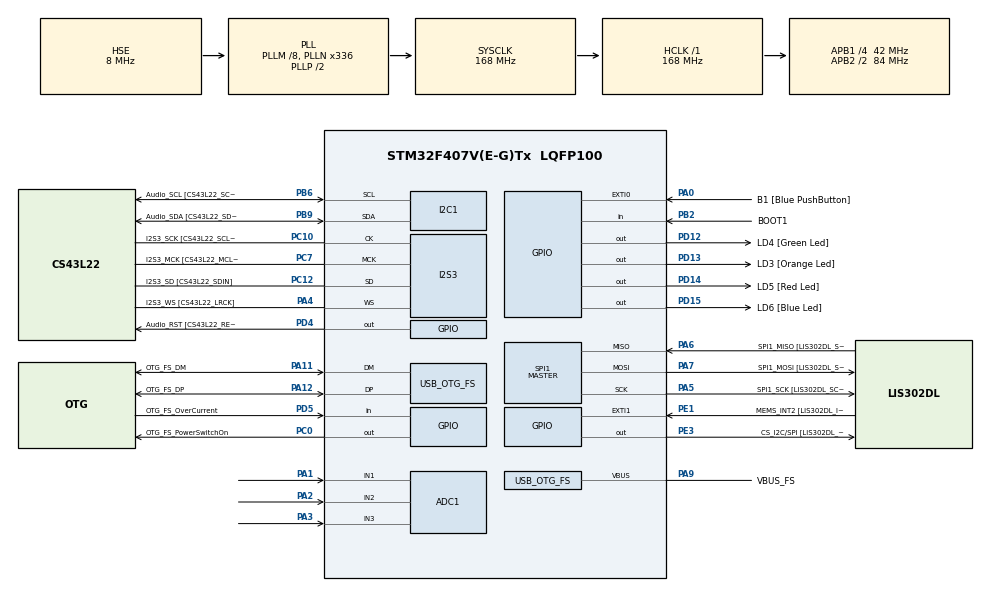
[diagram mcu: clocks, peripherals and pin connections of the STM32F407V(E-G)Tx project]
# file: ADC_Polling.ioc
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ADC1.Channel-10\#ChannelRegularConversion=ADC_CHANNEL_3
ADC1.Channel-8\#ChannelRegularConversion=ADC_CHANNEL_1
ADC1.Channel-9\#ChannelRegularConversion=ADC_CHANNEL_2
ADC1.ContinuousConvMode=ENABLE
ADC1.NbrOfConversion=3
ADC1.NbrOfConversionFlag=1
ADC1.Rank-10\#ChannelRegularConversion=3
ADC1.Rank-8\#ChannelRegularConversion=1
ADC1.Rank-9\#ChannelRegularConversion=2
ADC1.SamplingTime-10\#ChannelRegularConversion=ADC_SAMPLETIME_480CYCLES
ADC1.SamplingTime-8\#ChannelRegularConversion=ADC_SAMPLETIME_480CYCLES
ADC1.SamplingTime-9\#ChannelRegularConversion=ADC_SAMPLETIME_480CYCLES
ADC1.ScanConvMode=ENABLE
ADC1.master=1
I2S3.AudioFreq-Half_Duplex_Master=I2S_AUDIOFREQ_96K
I2S3.ErrorAudioFreq=-2.34 %
I2S3.ErrorAudioFreq-Half_Duplex_Master=0.8 %
I2S3.FullDuplexMode=I2S_FULLDUPLEXMODE_DISABLE
I2S3.Instance=SPI$Index
I2S3.RealAudioFreq=93.75 KHz
I2S3.RealAudioFreq-Half_Duplex_Master=96.774 KHz
I2S3.VirtualMode=I2S_MODE_MASTER
Mcu.Family=STM32F4
Mcu.Name=STM32F407V(E-G)Tx
Mcu.Package=LQFP100
NVIC.OTG_FS_IRQn=true\:0\:0\:false\:false\:true\:true\:true
NVIC.PriorityGroup=NVIC_PRIORITYGROUP_0
PA0-WKUP.GPIO_Label=B1 [Blue PushButton]
PA0-WKUP.GPIO_ModeDefaultEXTI=GPIO_MODE_EVT_RISING
PA0-WKUP.GPIO_PuPd=GPIO_NOPULL
PA0-WKUP.Signal=GPXTI0
PA1.Signal=ADCx_IN1
PA10.GPIO_Label=OTG_FS_ID
PA10.GPIO_Mode=GPIO_MODE_AF_PP
PA10.GPIO_PuPd=GPIO_NOPULL
PA10.GPIO_Speed=GPIO_SPEED_FREQ_LOW
PA10.Signal=USB_OTG_FS_ID
PA11.GPIO_Label=OTG_FS_DM
PA11.GPIO_Mode=GPIO_MODE_AF_PP
PA11.GPIO_PuPd=GPIO_NOPULL
PA11.GPIO_Speed=GPIO_SPEED_FREQ_LOW
PA11.Mode=Host_Only
PA11.Signal=USB_OTG_FS_DM
PA12.GPIO_Label=OTG_FS_DP
PA12.GPIO_Mode=GPIO_MODE_AF_PP
PA12.GPIO_PuPd=GPIO_NOPULL
PA12.GPIO_Speed=GPIO_SPEED_FREQ_LOW
PA12.Mode=Host_Only
PA12.Signal=USB_OTG_FS_DP
PA13.GPIO_Label=SWDIO
PA13.Mode=Serial_Wire
PA13.Signal=SYS_JTMS-SWDIO
PA14.GPIO_Label=SWCLK
PA14.Mode=Serial_Wire
PA14.Signal=SYS_JTCK-SWCLK
PA2.Signal=ADCx_IN2
PA3.Signal=ADCx_IN3
PA4.GPIO_Label=I2S3_WS [CS43L22_LRCK]
PA4.GPIO_Mode=GPIO_MODE_AF_PP
PA4.GPIO_PuPd=GPIO_NOPULL
PA4.GPIO_Speed=GPIO_SPEED_FREQ_LOW
PA4.Mode=Half_Duplex_Master
PA4.Signal=I2S3_WS
PA5.GPIO_Label=SPI1_SCK [LIS302DL_SCL/SPC]
PA5.GPIO_Mode=GPIO_MODE_AF_PP
PA5.GPIO_PuPd=GPIO_NOPULL
PA5.GPIO_Speed=GPIO_SPEED_FREQ_LOW
PA5.Mode=Full_Duplex_Master
PA5.Signal=SPI1_SCK
PA6.GPIO_Label=SPI1_MISO [LIS302DL_SDO]
PA6.GPIO_Mode=GPIO_MODE_AF_PP
PA6.GPIO_PuPd=GPIO_NOPULL
PA6.GPIO_Speed=GPIO_SPEED_FREQ_LOW
PA6.Mode=Full_Duplex_Master
PA6.Signal=SPI1_MISO
PA7.GPIO_Label=SPI1_MOSI [LIS302DL_SDA/SDI/SDO]
PA7.GPIO_Mode=GPIO_MODE_AF_PP
PA7.GPIO_PuPd=GPIO_NOPULL
PA7.GPIO_Speed=GPIO_SPEED_FREQ_LOW
PA7.Mode=Full_Duplex_Master
PA7.Signal=SPI1_MOSI
PA9.GPIO_Label=VBUS_FS
PA9.GPIO_Mode=GPIO_MODE_INPUT
PA9.GPIO_PuPd=GPIO_NOPULL
PA9.Mode=Activate_VBUS
PA9.Signal=USB_OTG_FS_VBUS
PB10.GPIO_Label=CLK_IN [MP45DT02_CLK]
PB10.GPIO_Mode=GPIO_MODE_AF_PP
PB10.GPIO_PuPd=GPIO_NOPULL
PB10.GPIO_Speed=GPIO_SPEED_FREQ_LOW
PB10.Signal=I2S2_CK
PB2.GPIO_Label=BOOT1
PB2.GPIO_Mode=GPIO_MODE_INPUT
PB2.GPIO_PuPd=GPIO_NOPULL
PB2.Signal=GPIO_Input
PB3.GPIO_Label=SWO
PB3.Signal=SYS_JTDO-SWO
PB6.GPIO_Label=Audio_SCL [CS43L22_SCL]
PB6.GPIO_Mode=GPIO_MODE_AF_OD
PB6.GPIO_PuPd=GPIO_NOPULL
PB6.GPIO_Speed=GPIO_SPEED_FREQ_LOW
PB6.Mode=I2C
PB6.Signal=I2C1_SCL
PB9.GPIO_Label=Audio_SDA [CS43L22_SDA]
PB9.GPIO_Mode=GPIO_MODE_AF_OD
PB9.GPIO_PuPd=GPIO_NOPULL
PB9.GPIO_Speed=GPIO_SPEED_FREQ_LOW
PB9.Mode=I2C
PB9.Signal=I2C1_SDA
PC0.GPIO_Label=OTG_FS_PowerSwitchOn
PC0.GPIO_PuPd=GPIO_NOPULL
PC0.GPIO_Speed=GPIO_SPEED_FREQ_LOW
PC0.PinState=GPIO_PIN_SET
PC0.Signal=GPIO_Output
PC10.GPIO_Label=I2S3_SCK [CS43L22_SCLK]
PC10.GPIO_Mode=GPIO_MODE_AF_PP
PC10.GPIO_PuPd=GPIO_NOPULL
PC10.GPIO_Speed=GPIO_SPEED_FREQ_LOW
PC10.Mode=Half_Duplex_Master
PC10.Signal=I2S3_CK
PC12.GPIO_Label=I2S3_SD [CS43L22_SDIN]
PC12.GPIO_Mode=GPIO_MODE_AF_PP
PC12.GPIO_PuPd=GPIO_NOPULL
PC12.GPIO_Speed=GPIO_SPEED_FREQ_LOW
PC12.Mode=Half_Duplex_Master
PC12.Signal=I2S3_SD
PC14-OSC32_IN.GPIO_Label=PC14-OSC32_IN
PC14-OSC32_IN.Mode=LSE-External-Oscillator
PC14-OSC32_IN.Signal=RCC_OSC32_IN
PC15-OSC32_OUT.GPIO_Label=PC15-OSC32_OUT
PC15-OSC32_OUT.Mode=LSE-External-Oscillator
PC15-OSC32_OUT.Signal=RCC_OSC32_OUT
PC3.GPIO_Label=PDM_OUT [MP45DT02_DOUT]
PC3.GPIO_Mode=GPIO_MODE_AF_PP
PC3.GPIO_PuPd=GPIO_NOPULL
PC3.GPIO_Speed=GPIO_SPEED_FREQ_LOW
PC3.Signal=I2S2_SD
PC7.GPIO_Label=I2S3_MCK [CS43L22_MCLK]
PC7.GPIO_Mode=GPIO_MODE_AF_PP
PC7.GPIO_PuPd=GPIO_NOPULL
PC7.GPIO_Speed=GPIO_SPEED_FREQ_LOW
PC7.Mode=Master_Clock_Activated
PC7.Signal=I2S3_MCK
PD12.GPIO_Label=LD4 [Green Led]
PD12.GPIO_PuPd=GPIO_NOPULL
PD12.GPIO_Speed=GPIO_SPEED_FREQ_LOW
PD12.Signal=GPIO_Output
PD13.GPIO_Label=LD3 [Orange Led]
PD13.GPIO_PuPd=GPIO_NOPULL
PD13.GPIO_Speed=GPIO_SPEED_FREQ_LOW
PD13.Signal=GPIO_Output
PD14.GPIO_Label=LD5 [Red Led]
PD14.GPIO_PuPd=GPIO_NOPULL
PD14.GPIO_Speed=GPIO_SPEED_FREQ_LOW
PD14.Signal=GPIO_Output
PD15.GPIO_Label=LD6 [Blue Led]
PD15.GPIO_PuPd=GPIO_NOPULL
PD15.GPIO_Speed=GPIO_SPEED_FREQ_LOW
PD15.Signal=GPIO_Output
PD4.GPIO_Label=Audio_RST [CS43L22_RESET]
PD4.GPIO_PuPd=GPIO_NOPULL
PD4.GPIO_Speed=GPIO_SPEED_FREQ_LOW
PD4.Signal=GPIO_Output
PD5.GPIO_Label=OTG_FS_OverCurrent
PD5.GPIO_Mode=GPIO_MODE_INPUT
PD5.GPIO_PuPd=GPIO_NOPULL
PD5.Signal=GPIO_Input
PE1.GPIO_Label=MEMS_INT2 [LIS302DL_INT2]
PE1.GPIO_ModeDefaultEXTI=GPIO_MODE_EVT_RISING
PE1.GPIO_PuPd=GPIO_NOPULL
PE1.Signal=GPXTI1
PE3.GPIO_Label=CS_I2C/SPI [LIS302DL_CS_I2C/SPI]
PE3.GPIO_PuPd=GPIO_NOPULL
PE3.GPIO_Speed=GPIO_SPEED_FREQ_LOW
PE3.Signal=GPIO_Output
PH0-OSC_IN.GPIO_Label=PH0-OSC_IN
PH0-OSC_IN.Mode=HSE-External-Oscillator
PH0-OSC_IN.Signal=RCC_OSC_IN
PH1-OSC_OUT.GPIO_Label=PH1-OSC_OUT
PH1-OSC_OUT.Mode=HSE-External-Oscillator
PH1-OSC_OUT.Signal=RCC_OSC_OUT
ProjectManager.HeapSize=0x200
ProjectManager.StackSize=0x400
ProjectManager.TargetToolchain=MDK-ARM V5.27
RCC.48MHZClocksFreq_Value=48000000
RCC.AHBFreq_Value=168000000
RCC.APB1CLKDivider=RCC_HCLK_DIV4
RCC.APB1Freq_Value=42000000
RCC.APB1TimFreq_Value=84000000
RCC.APB2CLKDivider=RCC_HCLK_DIV2
RCC.APB2Freq_Value=84000000
RCC.APB2TimFreq_Value=168000000
RCC.CortexFreq_Value=168000000
RCC.HCLKFreq_Value=168000000
RCC.HSE_VALUE=8000000
RCC.HSI_VALUE=16000000
RCC.PLLM=8
RCC.PLLN=336
RCC.PLLQ=7
RCC.SYSCLKFreq_VALUE=168000000
RCC.SYSCLKSource=RCC_SYSCLKSOURCE_PLLCLK
RCC.VCOOutputFreq_Value=336000000
SH.ADCx_IN1.0=ADC1_IN1,IN1
SH.ADCx_IN2.0=ADC1_IN2,IN2
SH.ADCx_IN3.0=ADC1_IN3,IN3
SPI1.BaudRatePrescaler-Full_Duplex_Master=SPI_BAUDRATEPRESCALER_2
SPI1.CalculateBaudRate-Full_Duplex_Master=42.0 MBits/s
SPI1.Direction=SPI_DIRECTION_2LINES
SPI1.Mode=SPI_MODE_MASTER
SPI1.Mode-Full_Duplex_Master=SPI_MODE_MASTER
SPI1.VirtualType=VM_MASTER
USB_HOST.BSP.number=1
USB_HOST.USBH_HandleTypeDef-CDC_FS=hUsbHostFS
USB_HOST.VirtualModeFS=Cdc
USB_HOST0.BSP.STBoard=false
USB_HOST0.BSP.api=Unknown
USB_HOST0.BSP.i2caddr=0
USB_HOST0.BSP.i2creg=0
USB_HOST0.BSP.instance=PC0
USB_HOST0.BSP.ip=GPIO
USB_HOST0.BSP.mode=Output
USB_HOST0.BSP.name=Drive_VBUS_FS
USB_HOST0.BSP.solution=PC0
USB_OTG_FS.VirtualMode=Host_Only
USB_OTG_FS.phy_itface=HCD_PHY_EMBEDDED
VP_USB_HOST_VS_USB_HOST_CDC_FS.Mode=CDC_FS
board=STM32F407G-DISC1

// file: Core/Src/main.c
/* USER CODE BEGIN Header */
/**
  ******************************************************************************
  * @file           : main.c
  * @brief          : Main program body
  ******************************************************************************
  * @attention
  *
  * <h2><center>&copy; Copyright (c) 2021 STMicroelectronics.
  * All rights reserved.</center></h2>
  *
  * This software component is licensed by ST under Ultimate Liberty license
  * SLA0044, the "License"; You may not use this file except in compliance with
  * the License. You may obtain a copy of the License at:
  *                             www.st.com/SLA0044
  *
  ******************************************************************************
  */
/* USER CODE END Header */
#include "main.h"
#include "adc.h"
#include "i2c.h"
#include "i2s.h"
#include "spi.h"
#include "usb_host.h"
#include "gpio.h"

void SystemClock_Config(void);
void MX_USB_HOST_Process(void);

/* USER CODE BEGIN 0 */
uint16_t adc_value1 = 0;
float Vin1 = 0;
uint16_t adc_value2 = 0;
float Vin2 = 0;
uint16_t adc_value3 = 0;
float Vin3 = 0;
/* USER CODE END 0 */

int main(void)
{

  /* MCU Configuration--------------------------------------------------------*/

  /* Reset of all peripherals, Initializes the Flash interface and the Systick. */
  HAL_Init();

  /* Configure the system clock */
  SystemClock_Config();

  /* Initialize all configured peripherals */
  MX_GPIO_Init();
  MX_ADC1_Init();
  MX_I2C1_Init();
  MX_I2S3_Init();
  MX_SPI1_Init();
  MX_USB_HOST_Init();

  /* Infinite loop */
  while (1)
  {
    MX_USB_HOST_Process();

    /* USER CODE BEGIN 3 */
		HAL_ADC_Start(&hadc1);
		HAL_ADC_PollForConversion(&hadc1,300);
		adc_value1 = HAL_ADC_GetValue(&hadc1);
		Vin1 = (float)(adc_value1/4095.00)*3.3;
		HAL_ADC_PollForConversion(&hadc1,300);
		adc_value2 = HAL_ADC_GetValue(&hadc1);
		Vin2 = (float)(adc_value2/4095.00)*3.3;
		HAL_ADC_PollForConversion(&hadc1,300);
		adc_value3 = HAL_ADC_GetValue(&hadc1);
		Vin3 = (float)(adc_value3/4095.00)*3.3;
		HAL_ADC_Stop(&hadc1);
  }
  /* USER CODE END 3 */
}

void SystemClock_Config(void)
{
  RCC_OscInitTypeDef RCC_OscInitStruct = {0};
  RCC_ClkInitTypeDef RCC_ClkInitStruct = {0};
  RCC_PeriphCLKInitTypeDef PeriphClkInitStruct = {0};

  /** Configure the main internal regulator output voltage
  */
  __HAL_RCC_PWR_CLK_ENABLE();
  __HAL_PWR_VOLTAGESCALING_CONFIG(PWR_REGULATOR_VOLTAGE_SCALE1);
  /** Initializes the RCC Oscillators according to the specified parameters
  * in the RCC_OscInitTypeDef structure.
  */
  RCC_OscInitStruct.OscillatorType = RCC_OSCILLATORTYPE_HSE;
  RCC_OscInitStruct.HSEState = RCC_HSE_ON;
  RCC_OscInitStruct.PLL.PLLState = RCC_PLL_ON;
  RCC_OscInitStruct.PLL.PLLSource = RCC_PLLSOURCE_HSE;
  RCC_OscInitStruct.PLL.PLLM = 8;
  RCC_OscInitStruct.PLL.PLLN = 336;
  RCC_OscInitStruct.PLL.PLLP = RCC_PLLP_DIV2;
  RCC_OscInitStruct.PLL.PLLQ = 7;
  if (HAL_RCC_OscConfig(&RCC_OscInitStruct) != HAL_OK)
  {
    Error_Handler();
  }
  /** Initializes the CPU, AHB and APB buses clocks
  */
  RCC_ClkInitStruct.ClockType = RCC_CLOCKTYPE_HCLK|RCC_CLOCKTYPE_SYSCLK
                              |RCC_CLOCKTYPE_PCLK1|RCC_CLOCKTYPE_PCLK2;
  RCC_ClkInitStruct.SYSCLKSource = RCC_SYSCLKSOURCE_PLLCLK;
  RCC_ClkInitStruct.AHBCLKDivider = RCC_SYSCLK_DIV1;
  RCC_ClkInitStruct.APB1CLKDivider = RCC_HCLK_DIV4;
  RCC_ClkInitStruct.APB2CLKDivider = RCC_HCLK_DIV2;

  if (HAL_RCC_ClockConfig(&RCC_ClkInitStruct, FLASH_LATENCY_5) != HAL_OK)
  {
    Error_Handler();
  }
  PeriphClkInitStruct.PeriphClockSelection = RCC_PERIPHCLK_I2S;
  PeriphClkInitStruct.PLLI2S.PLLI2SN = 192;
  PeriphClkInitStruct.PLLI2S.PLLI2SR = 2;
  if (HAL_RCCEx_PeriphCLKConfig(&PeriphClkInitStruct) != HAL_OK)
  {
    Error_Handler();
  }
}

void Error_Handler(void)
{
  __disable_irq();
  while (1)
  {
  }
}

/************************ (C) COPYRIGHT STMicroelectronics *****END OF FILE****/
